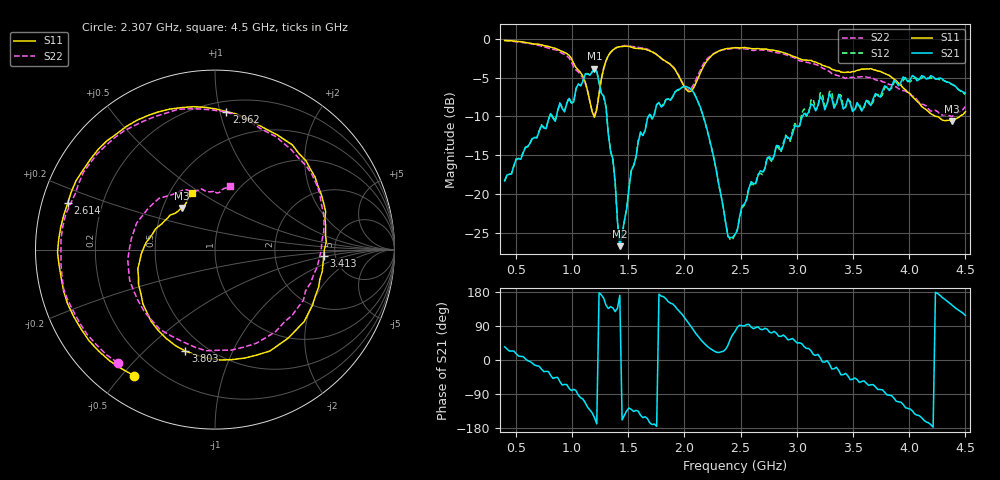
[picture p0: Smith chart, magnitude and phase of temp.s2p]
! Anritsu VNA Master:  Model: MS2036C/2
! SN:  2120025
! /bd0/ab_14.s2p
! Existing Calibration Information:
! TYPE:  Current Settings,  Active Cal Settings
! TIME:  03/02/2026 03:45:46 AM,  03/02/2026 02:47:23 AM
! INTERNAL TEMP:  56.5 C,  51.8 C
! # POINTS:  201,  201
! START FREQ:  400.000 MHz,  400.000 MHz
! STOP FREQ:  4.500 GHz,  4.500 GHz
! SOURCE POWER:  High,  High
! IFBW:  10 kHz,  10 kHz
! AVG FACTOR:  1 ,  1
! REF PLANE 1:  0 mm,  0 mm
! REF PLANE 2:  0 mm,  0 mm
! CAL TYPE:  Full 2 Port,  Full 2 Port
! CAL METHOD:  SOLT,  SOLT
! CAL LINE TYPE:  Coax,  Coax
! DUT PORT 1:  N-Conn(M),  N-Conn(M)
! DUT PORT 2:  N-Conn(M),  N-Conn(M)
! CAL STATUS:  OK: Accuracy High,  --
# GHZ S DB R 50.0
! FREQ.GHZ  S11DB  S11A  S21DB  S21A  S12DB  S12A  S22DB  S22A
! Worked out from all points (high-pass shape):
!   201 points, 400 MHz to 4.5 GHz, reference 50 ohm
!   highest |S21| = -3.88 dB at 1.2 GHz (marker M1); lowest = -26.7 dB at 1.425 GHz (marker M2)
!   |S21| within 3 dB of the highest: 1.03 GHz to 1.259 GHz (228.6 MHz wide, 20 % of centre); 3.758 GHz to 4.483 GHz (724.8 MHz wide, 17.6 % of centre)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
!   lowest |S11| = -10.6 dB at 4.377 GHz (marker M3), VSWR 1.84, Z = 31.4 + j16 ohm
!   |S11| at or under -10 dB: 1.19653 GHz to 1.201578 GHz (5.048 MHz wide, 0.421 % of centre); 4.241 GHz to 4.449 GHz (208.8 MHz wide, 4.8 % of centre)
!   |S22| runs from -10.0 to -0.2 dB; largest |S21 - S12| = 0.038
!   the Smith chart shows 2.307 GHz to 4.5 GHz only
!   S11 on the Smith chart (normalised r, x): 2.307 GHz: 0.12, -0.54; 2.614 GHz: 0.08, +0.15; 2.962 GHz: 0.28, +1.05; 3.413 GHz: 4.04, -0.43; 3.803 GHz: 0.39, -0.67; 4.5 GHz: 0.65, +0.46
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0.4  -0.23 -88.5  -18.27 34.8  -18.30 34.1  -0.24 -89.8
0.7485  -0.90 -170.7  -11.49 -30.6  -11.35 -31.6  -1.05 -175.2
0.9535  -1.91 135.9  -8.30 -64.9  -8.27 -65.6  -2.21 128.9
1.097  -4.85 100.2  -5.49 -103.1  -5.42 -102.5  -5.07 93.1
1.1995  -10.10 106.1  -3.88 -152.0  -3.89 -151.8  -9.88 97.9
1.302  -2.83 106.8  -8.67 144.8  -8.81 146.5  -2.88 95.8
1.425  -1.04 61.5  -26.67 170.6  -26.36 171.2  -1.00 50.8
1.589  -1.27 14.1  -13.27 -135.1  -13.13 -134.6  -1.12 1.9
1.7735  -2.28 -36.2  -8.24 173.7  -8.19 172.7  -2.28 -47.3
2.04  -6.82 -79.3  -6.34 95.9  -6.32 95.7  -6.64 -86.8
2.3065  -1.57 -122.7  -18.77 19.8  -18.86 19.9  -1.60 -130.8
2.45  -1.16 -159.6  -25.17 75.3  -25.16 76.2  -1.19 -165.5
2.614  -1.31 162.5  -18.60 82.7  -18.78 83.7  -1.53 158.2
2.9625  -2.25 85.3  -12.21 56.6  -11.75 58.5  -2.37 82.3
3.147  -2.96 49.0  -8.57 14.4  -7.78 12.7  -3.23 42.2
3.4135  -4.33 -3.2  -9.05 -38.8  -8.73 -42.5  -4.96 -19.1
3.6185  -3.88 -50.6  -7.93 -60.9  -7.96 -59.1  -4.92 -80.5
3.803  -4.60 -106.3  -6.31 -92.2  -6.13 -90.4  -5.77 -146.1
3.8235  -4.74 -112.1  -6.67 -93.0  -6.58 -94.0  -5.89 -153.4
4.049  -7.73 -177.0  -4.93 -142.3  -4.99 -139.5  -7.47 137.6
4.377  -10.59 128.3  -5.85 145.8  -5.87 146.3  -10.03 87.6
4.5  -9.39 111.9  -6.99 117.5  -7.18 118.7  -8.73 76.6
